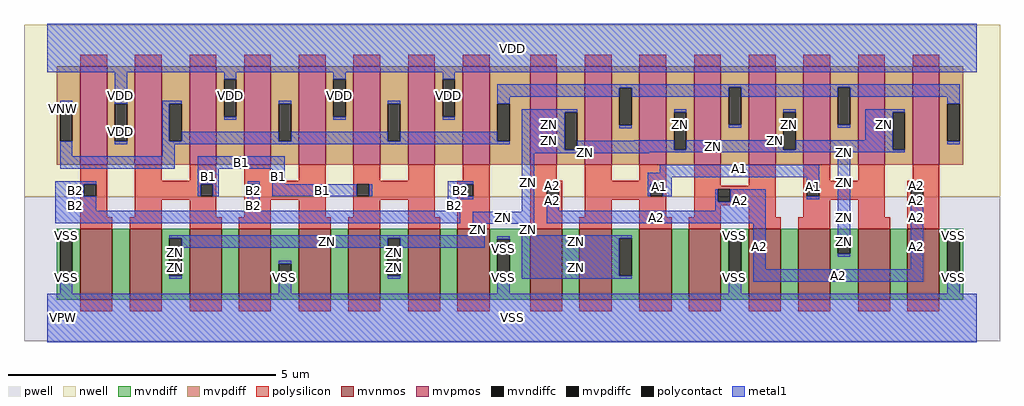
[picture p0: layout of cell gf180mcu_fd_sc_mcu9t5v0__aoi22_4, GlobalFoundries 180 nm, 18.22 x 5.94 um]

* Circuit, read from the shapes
.subckt gf180mcu_fd_sc_mcu9t5v0__aoi22_4 A1 A2 B1 B2 ZN VDD VNW VPW VSS
XM1 n1 B2 VSS VPW nfet_06v0 w=1.32u l=0.6u
XM2 ZN B1 n1 VPW nfet_06v0 w=1.32u l=0.6u
XM3 n2 B1 ZN VPW nfet_06v0 w=1.32u l=0.6u
XM4 VSS B2 n2 VPW nfet_06v0 w=1.32u l=0.6u
XM5 n3 B2 VSS VPW nfet_06v0 w=1.32u l=0.6u
XM6 ZN B1 n3 VPW nfet_06v0 w=1.32u l=0.6u
XM7 n4 B1 ZN VPW nfet_06v0 w=1.32u l=0.6u
XM8 VSS B2 n4 VPW nfet_06v0 w=1.32u l=0.6u
XM9 n5 A2 VSS VPW nfet_06v0 w=1.32u l=0.6u
XM10 ZN A1 n5 VPW nfet_06v0 w=1.32u l=0.6u
XM11 n6 A1 ZN VPW nfet_06v0 w=1.32u l=0.6u
XM12 VSS A2 n6 VPW nfet_06v0 w=1.32u l=0.6u
XM13 n7 A2 VSS VPW nfet_06v0 w=1.32u l=0.6u
XM14 ZN A1 n7 VPW nfet_06v0 w=1.32u l=0.6u
XM15 n8 A1 ZN VPW nfet_06v0 w=1.32u l=0.6u
XM16 VSS A2 n8 VPW nfet_06v0 w=1.32u l=0.6u
XM17 VDD B2 n9 VNW pfet_06v0 w=1.83u l=0.5u m=4
XM18 n9 B1 VDD VNW pfet_06v0 w=1.83u l=0.5u m=4
XM19 ZN A2 n9 VNW pfet_06v0 w=1.83u l=0.5u m=4
XM20 n9 A1 ZN VNW pfet_06v0 w=1.83u l=0.5u m=4
.ends

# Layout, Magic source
magic
tech gf180mcuD
magscale 1 10
<< nwell >>
rect -86 453 3558 1094
<< pwell >>
rect -86 -86 3558 453
<< mvnmos >>
rect 124 69 244 333
rect 308 69 428 333
rect 532 69 652 333
rect 716 69 836 333
rect 940 69 1060 333
rect 1124 69 1244 333
rect 1348 69 1468 333
rect 1532 69 1652 333
rect 1804 69 1924 333
rect 1988 69 2108 333
rect 2212 69 2332 333
rect 2396 69 2516 333
rect 2620 69 2740 333
rect 2804 69 2924 333
rect 3028 69 3148 333
rect 3212 69 3332 333
<< mvpmos >>
rect 124 573 224 939
rect 328 573 428 939
rect 532 573 632 939
rect 736 573 836 939
rect 940 573 1040 939
rect 1144 573 1244 939
rect 1348 573 1448 939
rect 1552 573 1652 939
rect 1804 573 1904 939
rect 2008 573 2108 939
rect 2212 573 2312 939
rect 2416 573 2516 939
rect 2620 573 2720 939
rect 2824 573 2924 939
rect 3028 573 3128 939
rect 3232 573 3332 939
<< mvndiff >>
rect 36 297 124 333
rect 36 157 49 297
rect 95 157 124 297
rect 36 69 124 157
rect 244 69 308 333
rect 428 297 532 333
rect 428 157 457 297
rect 503 157 532 297
rect 428 69 532 157
rect 652 69 716 333
rect 836 203 940 333
rect 836 157 865 203
rect 911 157 940 203
rect 836 69 940 157
rect 1060 69 1124 333
rect 1244 297 1348 333
rect 1244 157 1273 297
rect 1319 157 1348 297
rect 1244 69 1348 157
rect 1468 69 1532 333
rect 1652 294 1804 333
rect 1652 154 1681 294
rect 1727 154 1804 294
rect 1652 69 1804 154
rect 1924 69 1988 333
rect 2108 297 2212 333
rect 2108 157 2137 297
rect 2183 157 2212 297
rect 2108 69 2212 157
rect 2332 69 2396 333
rect 2516 297 2620 333
rect 2516 157 2545 297
rect 2591 157 2620 297
rect 2516 69 2620 157
rect 2740 69 2804 333
rect 2924 285 3028 333
rect 2924 239 2953 285
rect 2999 239 3028 285
rect 2924 69 3028 239
rect 3148 69 3212 333
rect 3332 297 3420 333
rect 3332 157 3361 297
rect 3407 157 3420 297
rect 3332 69 3420 157
<< mvpdiff >>
rect 36 800 124 939
rect 36 660 49 800
rect 95 660 124 800
rect 36 573 124 660
rect 224 800 328 939
rect 224 660 253 800
rect 299 660 328 800
rect 224 573 328 660
rect 428 800 532 939
rect 428 660 457 800
rect 503 660 532 800
rect 428 573 532 660
rect 632 892 736 939
rect 632 752 661 892
rect 707 752 736 892
rect 632 573 736 752
rect 836 800 940 939
rect 836 660 865 800
rect 911 660 940 800
rect 836 573 940 660
rect 1040 892 1144 939
rect 1040 752 1069 892
rect 1115 752 1144 892
rect 1040 573 1144 752
rect 1244 800 1348 939
rect 1244 660 1273 800
rect 1319 660 1348 800
rect 1244 573 1348 660
rect 1448 892 1552 939
rect 1448 752 1477 892
rect 1523 752 1552 892
rect 1448 573 1552 752
rect 1652 800 1804 939
rect 1652 660 1681 800
rect 1727 660 1804 800
rect 1652 573 1804 660
rect 1904 769 2008 939
rect 1904 629 1933 769
rect 1979 629 2008 769
rect 1904 573 2008 629
rect 2108 859 2212 939
rect 2108 719 2137 859
rect 2183 719 2212 859
rect 2108 573 2212 719
rect 2312 769 2416 939
rect 2312 629 2341 769
rect 2387 629 2416 769
rect 2312 573 2416 629
rect 2516 861 2620 939
rect 2516 721 2545 861
rect 2591 721 2620 861
rect 2516 573 2620 721
rect 2720 769 2824 939
rect 2720 629 2749 769
rect 2795 629 2824 769
rect 2720 573 2824 629
rect 2924 861 3028 939
rect 2924 721 2953 861
rect 2999 721 3028 861
rect 2924 573 3028 721
rect 3128 769 3232 939
rect 3128 629 3157 769
rect 3203 629 3232 769
rect 3128 573 3232 629
rect 3332 800 3420 939
rect 3332 660 3361 800
rect 3407 660 3420 800
rect 3332 573 3420 660
<< mvndiffc >>
rect 49 157 95 297
rect 457 157 503 297
rect 865 157 911 203
rect 1273 157 1319 297
rect 1681 154 1727 294
rect 2137 157 2183 297
rect 2545 157 2591 297
rect 2953 239 2999 285
rect 3361 157 3407 297
<< mvpdiffc >>
rect 49 660 95 800
rect 253 660 299 800
rect 457 660 503 800
rect 661 752 707 892
rect 865 660 911 800
rect 1069 752 1115 892
rect 1273 660 1319 800
rect 1477 752 1523 892
rect 1681 660 1727 800
rect 1933 629 1979 769
rect 2137 719 2183 859
rect 2341 629 2387 769
rect 2545 721 2591 861
rect 2749 629 2795 769
rect 2953 721 2999 861
rect 3157 629 3203 769
rect 3361 660 3407 800
<< polysilicon >>
rect 124 939 224 983
rect 328 939 428 983
rect 532 939 632 983
rect 736 939 836 983
rect 940 939 1040 983
rect 1144 939 1244 983
rect 1348 939 1448 983
rect 1552 939 1652 983
rect 1804 939 1904 983
rect 2008 939 2108 983
rect 2212 939 2312 983
rect 2416 939 2516 983
rect 2620 939 2720 983
rect 2824 939 2924 983
rect 3028 939 3128 983
rect 3232 939 3332 983
rect 124 500 224 573
rect 124 454 137 500
rect 183 454 224 500
rect 124 377 224 454
rect 328 513 428 573
rect 532 513 632 573
rect 328 500 632 513
rect 328 454 573 500
rect 619 454 632 500
rect 328 441 632 454
rect 328 377 428 441
rect 124 333 244 377
rect 308 333 428 377
rect 532 377 632 441
rect 736 513 836 573
rect 940 513 1040 573
rect 736 500 1040 513
rect 736 454 749 500
rect 795 454 1040 500
rect 736 441 1040 454
rect 736 377 836 441
rect 532 333 652 377
rect 716 333 836 377
rect 940 377 1040 441
rect 1144 513 1244 573
rect 1348 513 1448 573
rect 1552 513 1652 573
rect 1144 500 1448 513
rect 1144 454 1157 500
rect 1203 454 1448 500
rect 1144 441 1448 454
rect 1144 377 1244 441
rect 940 333 1060 377
rect 1124 333 1244 377
rect 1348 377 1448 441
rect 1532 500 1652 513
rect 1532 454 1545 500
rect 1591 454 1652 500
rect 1348 333 1468 377
rect 1532 333 1652 454
rect 1804 513 1904 573
rect 2008 513 2108 573
rect 2212 513 2312 573
rect 1804 500 1924 513
rect 1804 454 1865 500
rect 1911 454 1924 500
rect 1804 333 1924 454
rect 2008 500 2312 513
rect 2008 454 2253 500
rect 2299 454 2312 500
rect 2008 441 2312 454
rect 2008 377 2108 441
rect 1988 333 2108 377
rect 2212 377 2312 441
rect 2416 493 2516 573
rect 2620 493 2720 573
rect 2416 480 2720 493
rect 2416 434 2505 480
rect 2551 434 2720 480
rect 2416 421 2720 434
rect 2416 377 2516 421
rect 2212 333 2332 377
rect 2396 333 2516 377
rect 2620 377 2720 421
rect 2824 513 2924 573
rect 3028 513 3128 573
rect 3232 513 3332 573
rect 2824 500 3128 513
rect 2824 454 2837 500
rect 2883 454 3128 500
rect 2824 441 3128 454
rect 2824 377 2924 441
rect 2620 333 2740 377
rect 2804 333 2924 377
rect 3028 377 3128 441
rect 3212 500 3332 513
rect 3212 454 3225 500
rect 3271 454 3332 500
rect 3028 333 3148 377
rect 3212 333 3332 454
rect 124 25 244 69
rect 308 25 428 69
rect 532 25 652 69
rect 716 25 836 69
rect 940 25 1060 69
rect 1124 25 1244 69
rect 1348 25 1468 69
rect 1532 25 1652 69
rect 1804 25 1924 69
rect 1988 25 2108 69
rect 2212 25 2332 69
rect 2396 25 2516 69
rect 2620 25 2740 69
rect 2804 25 2924 69
rect 3028 25 3148 69
rect 3212 25 3332 69
<< polycontact >>
rect 137 454 183 500
rect 573 454 619 500
rect 749 454 795 500
rect 1157 454 1203 500
rect 1545 454 1591 500
rect 1865 454 1911 500
rect 2253 454 2299 500
rect 2505 434 2551 480
rect 2837 454 2883 500
rect 3225 454 3271 500
<< metal1 >>
rect 0 918 3472 1098
rect 49 800 95 811
rect 49 603 95 660
rect 253 800 299 918
rect 661 892 707 918
rect 253 649 299 660
rect 430 800 503 811
rect 430 660 457 800
rect 1069 892 1115 918
rect 661 741 707 752
rect 865 800 911 811
rect 503 660 865 695
rect 1477 892 1523 918
rect 1069 741 1115 752
rect 1273 800 1319 811
rect 911 660 1273 695
rect 1477 741 1523 752
rect 1681 861 3407 872
rect 1681 859 2545 861
rect 1681 826 2137 859
rect 1681 800 1727 826
rect 1319 660 1681 695
rect 430 649 1727 660
rect 1773 769 1979 780
rect 430 603 476 649
rect 1773 629 1933 769
rect 2183 826 2545 859
rect 2137 708 2183 719
rect 2341 769 2387 780
rect 2239 663 2341 664
rect 2193 662 2341 663
rect 1979 629 2341 662
rect 2591 826 2953 861
rect 2545 710 2591 721
rect 2749 769 2795 780
rect 2387 629 2749 664
rect 2999 826 3407 861
rect 3361 800 3407 826
rect 2953 710 2999 721
rect 3054 769 3203 780
rect 3054 664 3157 769
rect 2795 629 3157 664
rect 3361 649 3407 660
rect 1773 618 3203 629
rect 1773 616 2249 618
rect 49 557 476 603
rect 562 557 887 603
rect 30 500 183 511
rect 30 454 137 500
rect 562 500 642 557
rect 562 454 573 500
rect 619 454 642 500
rect 749 500 795 511
rect 841 500 887 557
rect 1497 500 1591 511
rect 841 454 1157 500
rect 1203 454 1214 500
rect 1497 454 1545 500
rect 30 400 183 454
rect 749 400 795 454
rect 1497 443 1591 454
rect 1497 400 1543 443
rect 30 354 1543 400
rect 1773 397 1819 616
rect 2288 542 2883 572
rect 2242 526 2883 542
rect 1589 351 1819 397
rect 1865 500 1911 511
rect 2242 500 2332 526
rect 2242 454 2253 500
rect 2299 454 2332 500
rect 2837 500 2883 526
rect 1865 400 1911 454
rect 2494 434 2505 480
rect 2551 434 2683 480
rect 2837 443 2883 454
rect 2494 400 2683 434
rect 1865 354 2683 400
rect 1589 308 1635 351
rect 49 297 95 308
rect 49 90 95 157
rect 457 297 1635 308
rect 1773 308 1819 351
rect 503 262 1273 297
rect 457 146 503 157
rect 865 203 911 214
rect 865 90 911 157
rect 1319 262 1635 297
rect 1681 294 1727 305
rect 1273 146 1319 157
rect 1681 90 1727 154
rect 1773 297 2183 308
rect 1773 157 2137 297
rect 1773 146 2183 157
rect 2545 297 2591 308
rect 2545 90 2591 157
rect 2637 182 2683 354
rect 2953 285 2999 618
rect 2953 228 2999 239
rect 3225 500 3271 511
rect 3225 182 3271 454
rect 2637 136 3271 182
rect 3361 297 3407 308
rect 3361 90 3407 157
rect 0 -90 3472 90
<< labels >>
flabel metal1 s 2288 542 2883 572 0 FreeSans 200 0 0 0 A1
port 1 nsew default input
flabel metal1 s 3225 480 3271 511 0 FreeSans 200 0 0 0 A2
port 2 nsew default input
flabel metal1 s 562 557 887 603 0 FreeSans 200 0 0 0 B1
port 3 nsew default input
flabel metal1 s 1497 443 1591 511 0 FreeSans 200 0 0 0 B2
port 4 nsew default input
flabel metal1 s 0 918 3472 1098 0 FreeSans 200 0 0 0 VDD
port 6 nsew power bidirectional abutment
flabel metal1 s 3361 305 3407 308 0 FreeSans 200 0 0 0 VSS
port 9 nsew ground bidirectional abutment
flabel metal1 s 3054 664 3203 780 0 FreeSans 200 0 0 0 ZN
port 5 nsew default output
flabel nwell s 10 734 110 834 0 FreeSans 400 0 0 0 VNW
port 7 nsew power bidirectional
flabel pwell s 10 -50 110 50 0 FreeSans 400 0 0 0 VPW
port 8 nsew ground bidirectional
rlabel metal1 s 2242 526 2883 542 1 A1
port 1 nsew default input
rlabel metal1 s 2837 454 2883 526 1 A1
port 1 nsew default input
rlabel metal1 s 2242 454 2332 526 1 A1
port 1 nsew default input
rlabel metal1 s 2837 443 2883 454 1 A1
port 1 nsew default input
rlabel metal1 s 1865 480 1911 511 1 A2
port 2 nsew default input
rlabel metal1 s 3225 400 3271 480 1 A2
port 2 nsew default input
rlabel metal1 s 2494 400 2683 480 1 A2
port 2 nsew default input
rlabel metal1 s 1865 400 1911 480 1 A2
port 2 nsew default input
rlabel metal1 s 3225 354 3271 400 1 A2
port 2 nsew default input
rlabel metal1 s 1865 354 2683 400 1 A2
port 2 nsew default input
rlabel metal1 s 3225 182 3271 354 1 A2
port 2 nsew default input
rlabel metal1 s 2637 182 2683 354 1 A2
port 2 nsew default input
rlabel metal1 s 2637 136 3271 182 1 A2
port 2 nsew default input
rlabel metal1 s 841 500 887 557 1 B1
port 3 nsew default input
rlabel metal1 s 562 500 642 557 1 B1
port 3 nsew default input
rlabel metal1 s 841 454 1214 500 1 B1
port 3 nsew default input
rlabel metal1 s 562 454 642 500 1 B1
port 3 nsew default input
rlabel metal1 s 749 443 795 511 1 B2
port 4 nsew default input
rlabel metal1 s 30 443 183 511 1 B2
port 4 nsew default input
rlabel metal1 s 1497 400 1543 443 1 B2
port 4 nsew default input
rlabel metal1 s 749 400 795 443 1 B2
port 4 nsew default input
rlabel metal1 s 30 400 183 443 1 B2
port 4 nsew default input
rlabel metal1 s 30 354 1543 400 1 B2
port 4 nsew default input
rlabel metal1 s 2749 664 2795 780 1 ZN
port 5 nsew default output
rlabel metal1 s 2341 664 2387 780 1 ZN
port 5 nsew default output
rlabel metal1 s 1773 664 1979 780 1 ZN
port 5 nsew default output
rlabel metal1 s 2239 663 3203 664 1 ZN
port 5 nsew default output
rlabel metal1 s 1773 663 1979 664 1 ZN
port 5 nsew default output
rlabel metal1 s 2193 662 3203 663 1 ZN
port 5 nsew default output
rlabel metal1 s 1773 662 1979 663 1 ZN
port 5 nsew default output
rlabel metal1 s 1773 618 3203 662 1 ZN
port 5 nsew default output
rlabel metal1 s 2953 616 2999 618 1 ZN
port 5 nsew default output
rlabel metal1 s 1773 616 2249 618 1 ZN
port 5 nsew default output
rlabel metal1 s 2953 397 2999 616 1 ZN
port 5 nsew default output
rlabel metal1 s 1773 397 1819 616 1 ZN
port 5 nsew default output
rlabel metal1 s 2953 351 2999 397 1 ZN
port 5 nsew default output
rlabel metal1 s 1589 351 1819 397 1 ZN
port 5 nsew default output
rlabel metal1 s 2953 308 2999 351 1 ZN
port 5 nsew default output
rlabel metal1 s 1773 308 1819 351 1 ZN
port 5 nsew default output
rlabel metal1 s 1589 308 1635 351 1 ZN
port 5 nsew default output
rlabel metal1 s 2953 262 2999 308 1 ZN
port 5 nsew default output
rlabel metal1 s 1773 262 2183 308 1 ZN
port 5 nsew default output
rlabel metal1 s 457 262 1635 308 1 ZN
port 5 nsew default output
rlabel metal1 s 2953 228 2999 262 1 ZN
port 5 nsew default output
rlabel metal1 s 1773 228 2183 262 1 ZN
port 5 nsew default output
rlabel metal1 s 1273 228 1319 262 1 ZN
port 5 nsew default output
rlabel metal1 s 457 228 503 262 1 ZN
port 5 nsew default output
rlabel metal1 s 1773 146 2183 228 1 ZN
port 5 nsew default output
rlabel metal1 s 1273 146 1319 228 1 ZN
port 5 nsew default output
rlabel metal1 s 457 146 503 228 1 ZN
port 5 nsew default output
rlabel metal1 s 1477 741 1523 918 1 VDD
port 6 nsew power bidirectional abutment
rlabel metal1 s 1069 741 1115 918 1 VDD
port 6 nsew power bidirectional abutment
rlabel metal1 s 661 741 707 918 1 VDD
port 6 nsew power bidirectional abutment
rlabel metal1 s 253 741 299 918 1 VDD
port 6 nsew power bidirectional abutment
rlabel metal1 s 253 649 299 741 1 VDD
port 6 nsew power bidirectional abutment
rlabel metal1 s 2545 305 2591 308 1 VSS
port 9 nsew ground bidirectional abutment
rlabel metal1 s 49 305 95 308 1 VSS
port 9 nsew ground bidirectional abutment
rlabel metal1 s 3361 214 3407 305 1 VSS
port 9 nsew ground bidirectional abutment
rlabel metal1 s 2545 214 2591 305 1 VSS
port 9 nsew ground bidirectional abutment
rlabel metal1 s 1681 214 1727 305 1 VSS
port 9 nsew ground bidirectional abutment
rlabel metal1 s 49 214 95 305 1 VSS
port 9 nsew ground bidirectional abutment
rlabel metal1 s 3361 90 3407 214 1 VSS
port 9 nsew ground bidirectional abutment
rlabel metal1 s 2545 90 2591 214 1 VSS
port 9 nsew ground bidirectional abutment
rlabel metal1 s 1681 90 1727 214 1 VSS
port 9 nsew ground bidirectional abutment
rlabel metal1 s 865 90 911 214 1 VSS
port 9 nsew ground bidirectional abutment
rlabel metal1 s 49 90 95 214 1 VSS
port 9 nsew ground bidirectional abutment
rlabel metal1 s 0 -90 3472 90 1 VSS
port 9 nsew ground bidirectional abutment
<< properties >>
string FIXED_BBOX 0 0 3472 1008
string GDS_END 1198884
string GDS_FILE $PDKPATH/libs.ref/gf180mcu_fd_sc_mcu9t5v0/gds/gf180mcu_fd_sc_mcu9t5v0.gds
string GDS_START 1190644
string LEFclass core
string LEFsite GF018hv5v_green_sc9
string LEFsymmetry X Y
<< end >>
